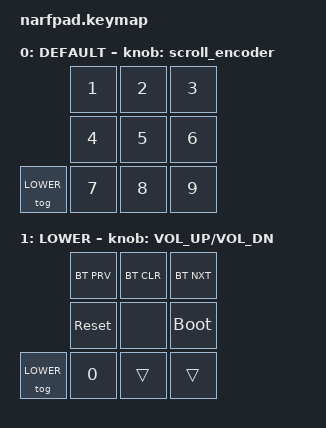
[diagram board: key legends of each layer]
#include <behaviors.dtsi>
#include <dt-bindings/zmk/keys.h>
#include <dt-bindings/zmk/bt.h>
#include <dt-bindings/zmk/outputs.h>
#include <dt-bindings/zmk/pointing.h>

#define DEFAULT 0
#define LOWER   1

/ {
    scroll_encoder: scroll_encoder {
        compatible = "zmk,behavior-sensor-rotate";
        #sensor-binding-cells = <0>;
        bindings = <&msc SCRL_RIGHT>, <&msc SCRL_LEFT>;
    };

    keymap {
        compatible = "zmk,keymap";
        default_layer {
            display-name = "DEFAULT";
            bindings = <
                       &kp N1  &kp N2  &kp N3
                       &kp N4  &kp N5  &kp N6
            &tog LOWER &kp N7  &kp N8  &kp N9
            >;
            sensor-bindings = <&scroll_encoder>;
        };
        lower_layer {
            display-name = "LOWER";
            bindings = <
                           &bt BT_PRV  &bt BT_CLR  &bt BT_NXT
                           &sys_reset  &none       &bootloader
            &tog LOWER     &kp N0      &trans      &trans
            >;
            sensor-bindings = <&inc_dec_kp C_VOL_UP C_VOL_DN>;
        };
    };
};
